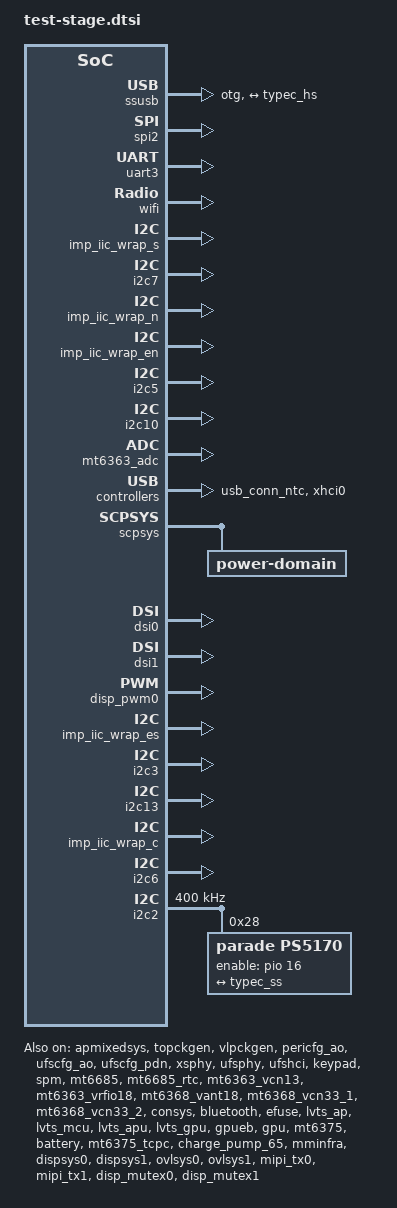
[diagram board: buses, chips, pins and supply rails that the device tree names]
// SPDX-FileCopyrightText: 2026 buntOS contributors
// SPDX-License-Identifier: (GPL-2.0-only OR BSD-2-Clause)
// 시험용: 2b부터 하나씩 켜는 노드. 기기에서 확인한 뒤 보드 dts로 옮긴다.

// LK가 켜 둔 화면은 mmpll에서 나오는 클럭으로 돈다. 커널에는 화면 드라이버가 없어 이 사용자를 모르므로,
// 같은 PLL을 쓰는 UFS가 클럭을 내리면 사용자가 0이 되어 PLL을 끈다. simpledrm이 잡아 둔다.
&framebuffer0 {
	clocks = <&apmixedsys CLK_APMIXED_MMPLL>;
};

// 6.1 핀, 6.2 클럭
&pio {
	status = "okay";
};

&apmixedsys {
	status = "okay";
};

&topckgen {
	status = "okay";
};

&vlpckgen {
	status = "okay";
};

&pericfg_ao {
	status = "okay";
};

&ufscfg_ao {
	status = "okay";
};

&ufscfg_pdn {
	status = "okay";
};

// 6.3 SPMI, 6.4 MT6363·MT6319, 6.5 MT6368. M 버스의 PMIC만 켠다. MT6685(@9)와 P 버스는 보드 dts대로 꺼져 있다.
&spmi {
	status = "okay";
};

// 6.7 USB 가젯. xhci0은 보드 dts대로 꺼 둔다.
&ssusb {
	status = "okay";
};

&xsphy {
	status = "okay";
};

// 6.6 UFS. 안드로이드 파티션과 nvdata가 있으니 읽기만 한다.
&ufsphy {
	status = "okay";
};

&ufshci {
	status = "okay";
};

// 7. 2c 입력. 터치와 펜(spi2), 홀 센서(gpio-keys), 포고 키보드(uart3). vddio_1v8은 패널과 터치의 I/O 전원이다.
&vddio_1v8 {
	status = "okay";
};

&spi2 {
	status = "okay";
};

&{/gpio-keys} {
	status = "okay";
};

&uart3 {
	status = "okay";
};

// 볼륨 내림 키
&keypad {
	status = "okay";
};

// 9.1, 9.2 2d. 드라이버는 명령줄의 modprobe.blacklist로 막고 손으로 올린다. 6.10 RTC도 MT6685와 함께 켠다.
&spm {
	status = "okay";
};

&mt6685 {
	status = "okay";
};

&mt6685_rtc {
	status = "okay";
};

&mt6363_vcn13 {
	status = "okay";
};

&mt6363_vrfio18 {
	status = "okay";
};

&mt6368_vant18 {
	status = "okay";
};

&mt6368_vcn33_1 {
	status = "okay";
};

&mt6368_vcn33_2 {
	status = "okay";
};

&consys {
	status = "okay";
};

&wifi {
	status = "okay";
};

&bluetooth {
	status = "okay";
};

// 9.4 2e 열과 게이지. efuse는 LK의 퓨즈 사본을 읽는다(lk-private.dtsi).
&efuse {
	status = "okay";
};

&lvts_ap {
	status = "okay";
};

&lvts_mcu {
	status = "okay";
};

&imp_iic_wrap_s {
	status = "okay";
};

&i2c7 {
	status = "okay";
};

// 9.4 2·3단계. GPU 전원은 요청하지 않는다.
&lvts_apu {
	status = "okay";
};

&lvts_gpu {
	status = "okay";
};

&gpueb_mbox {
	status = "okay";
};

&gpueb {
	status = "okay";
};

// 9.4 4단계. panthor는 명령줄의 modprobe.blacklist로 막고 손으로 올린다.
&gpu {
	status = "okay";
};

// 9.3 A 충전 읽기만. 모듈은 명령줄의 modprobe.blacklist로 막고 손으로 올린다.
&imp_iic_wrap_n {
	status = "okay";
};

&imp_iic_wrap_en {
	status = "okay";
};

&i2c5 {
	status = "okay";
};

&i2c10 {
	status = "okay";
};

&mt6375 {
	status = "okay";
};

// 9.3 B 충전 넘겨받기. 모듈은 명령줄의 modprobe.blacklist로 막고, 멈추는 스크립트를 건 뒤에 손으로 올린다.
&battery {
	status = "okay";
};

&mt6375 {
	charger {
		monitored-battery = <&battery>;
		mediatek,fuel-gauge = <&fuel_gauge>;
	};
};

// 9.3 C 인터럽트와 TCPC, 싱크만. tcpci_mt6375는 명령줄로 막고 시간 제한을 걸어 손으로 올린다.
&mt6375 {
	interrupt-parent = <&pio>;
	interrupts = <7 IRQ_TYPE_LEVEL_LOW>;

	charger {
		mediatek,usb-port = <&mt6375_tcpc>;
	};
};

&mt6375_tcpc {
	status = "okay";
};

// 8절 3단계, 9.3 C: TCPC의 VBUS 레귤레이터가 이 입력 FET 스위치를 입력으로 잡는다. 켜지 않는다.
&charge_pump_65 {
	status = "okay";
};

// 9.3 F USB 커넥터 과열 보호. 센서는 모듈이고 충전 드라이버가 10초마다 읽는다
&mt6363_adc {
	status = "okay";
};

&usb_conn_ntc {
	status = "okay";
};

&mt6375 {
	charger {
		mediatek,connector-thermal-zone = "usb-conn-thermal";
		mediatek,vbus-protect-gpios = <&pio 179 GPIO_ACTIVE_HIGH>;
	};
};

// 9.5 2c 2차 화면. 드라이버 넷은 명령줄의 modprobe.blacklist로 막고 손으로 올린다(체크리스트 9.5의 1~4단계).
// 화면 도메인은 첫 소비자 전에 simple-framebuffer가 잡는다. 패널 노드를 켜므로 fw_devlink가 simpledrm을 붙들지 않게 panel을 꺼진 노드로 돌린다.
/ {
	// simpledrm은 화면의 실제 크기(mm)를 panel이 가리키는 노드에서 읽는다. 꺼진 노드에는 fw_devlink가 걸리지 않으므로 크기만 적어 둔다
	panel_size: tb375fc-panel-size {
		status = "disabled";
		width-mm = <273>;
		height-mm = <171>;
	};
};

&framebuffer0 {
	panel = <&panel_size>;
	power-domains = <&scpsys MT6897_POWER_DOMAIN_DIS0_SHUTDOWN>,
			<&scpsys MT6897_POWER_DOMAIN_DIS1_SHUTDOWN>,
			<&scpsys MT6897_POWER_DOMAIN_OVL0_SHUTDOWN>,
			<&scpsys MT6897_POWER_DOMAIN_OVL1_SHUTDOWN>;
};

&scpsys {
	power-domain@MT6897_POWER_DOMAIN_MM_INFRA {
		reg = <MT6897_POWER_DOMAIN_MM_INFRA>;
		clocks = <&topckgen CLK_TOP_MMINFRA>;
		clock-names = "mm_infra";
		#address-cells = <1>;
		#size-cells = <0>;
		#power-domain-cells = <1>;

		power-domain@MT6897_POWER_DOMAIN_DIS0_SHUTDOWN {
			reg = <MT6897_POWER_DOMAIN_DIS0_SHUTDOWN>;
			clocks = <&topckgen CLK_TOP_DISP0>;
			clock-names = "disp";
			#address-cells = <1>;
			#size-cells = <0>;
			#power-domain-cells = <1>;

			power-domain@MT6897_POWER_DOMAIN_OVL0_SHUTDOWN {
				reg = <MT6897_POWER_DOMAIN_OVL0_SHUTDOWN>;
				clocks = <&topckgen CLK_TOP_OVL0>;
				clock-names = "ovl";
				#power-domain-cells = <0>;
			};
		};

		// 비디오 디코더(docs/tb375fc/video-decode.md 1단계). 소비자는 larb4뿐이고, 부팅 때는 꺼진 채로 둔다
		power-domain@MT6897_POWER_DOMAIN_VDE0 {
			reg = <MT6897_POWER_DOMAIN_VDE0>;
			clocks = <&topckgen CLK_TOP_VDEC>;
			clock-names = "vde";
			#address-cells = <1>;
			#size-cells = <0>;
			#power-domain-cells = <1>;

			power-domain@MT6897_POWER_DOMAIN_VDE1 {
				reg = <MT6897_POWER_DOMAIN_VDE1>;
				clocks = <&topckgen CLK_TOP_VDEC>;
				clock-names = "vde1";
				#power-domain-cells = <0>;
			};
		};

		// VCP의 도메인(2단계). LK가 켜 둔 채 넘기지만 꺼진 도메인으로 등록하고, 소비자(vcp 노드)는 꺼 둔 채 부팅한다
		power-domain@MT6897_POWER_DOMAIN_MM_PROC_DORMANT {
			reg = <MT6897_POWER_DOMAIN_MM_PROC_DORMANT>;
			clocks = <&topckgen CLK_TOP_MMUP>;
			clock-names = "mmup";
			#power-domain-cells = <0>;
		};

		power-domain@MT6897_POWER_DOMAIN_DIS1_SHUTDOWN {
			reg = <MT6897_POWER_DOMAIN_DIS1_SHUTDOWN>;
			clocks = <&topckgen CLK_TOP_DISP1>;
			clock-names = "disp1";
			#address-cells = <1>;
			#size-cells = <0>;
			#power-domain-cells = <1>;

			power-domain@MT6897_POWER_DOMAIN_OVL1_SHUTDOWN {
				reg = <MT6897_POWER_DOMAIN_OVL1_SHUTDOWN>;
				clocks = <&topckgen CLK_TOP_OVL1>;
				clock-names = "ovl1";
				#power-domain-cells = <0>;
			};
		};
	};
};

&mminfra {
	status = "okay";
};

&dispsys0 {
	status = "okay";
};

&dispsys1 {
	status = "okay";
};

&ovlsys0 {
	status = "okay";
};

&ovlsys1 {
	status = "okay";
};

&mipi_tx0 {
	status = "okay";
};

&mipi_tx1 {
	status = "okay";
};

&disp_mutex0 {
	status = "okay";
};

&disp_mutex1 {
	status = "okay";
};

&ovl_mutex0 {
	status = "okay";
};

&ovl_mutex1 {
	status = "okay";
};

&dsc0 {
	status = "okay";
};

&dsc1 {
	status = "okay";
};

&ovl_2l0 {
	status = "okay";
};

&ovl_2l1 {
	status = "okay";
};

&dsi0 {
	status = "okay";
};

&dsi1 {
	status = "okay";
};

&panel0 {
	status = "okay";
};

&lcd_avdd {
	status = "okay";
};

&lcd_avee {
	status = "okay";
};

// 9.5 밝기. SoC의 disp_pwm0이 SGM37604A 둘을 함께 움직인다. i2c3과 i2c13은 두 칩과 SM5109의 레지스터를 읽으려고 켠다(드라이버는 붙지 않는다).
/ {
	aliases {
		i2c3 = &i2c3;
		i2c13 = &i2c13;
	};
};

&disp_pwm0 {
	status = "okay";
};

&backlight {
	status = "okay";
};

&imp_iic_wrap_es {
	status = "okay";
};

&i2c3 {
	status = "okay";
};

&i2c13 {
	status = "okay";
};

// 소리. 드라이버는 명령줄의 modprobe.blacklist로 막고 buntos-sound.service가 올린다.
&sound {
	status = "okay";
};

&afe {
	status = "okay";
};

&mt6368_codec {
	status = "okay";
};

&mt6368_vaud18 {
	status = "okay";
};

&imp_iic_wrap_c {
	status = "okay";
};

&i2c6 {
	status = "okay";
};

// 비디오 디코더 1단계: MDP 쪽 IOMMU와 SMI, 디코더 코어의 larb(docs/tb375fc/video-decode.md 7.1절).
// 클럭 게이트는 레지스터를 건드리지 않고 등록만 한다.
&vdecsys {
	status = "okay";
};

// 3단계: 디코더 앞단(larb5)의 게이트. vdecsys와 같이 등록만 한다.
&vdecsys_soc {
	status = "okay";
};

// 비디오 디코더(docs/tb375fc/video-decode.md 7.4절): 두 IOMMU와 SMI, larb4·larb5, VCP, 전압 요청 블록(DVFSRC), 디코더.
// 노드는 부팅 때부터 켜 두고, 드라이버(mtk_smi, mtk_iommu, mtk_dvfsrc, mt6897_vcp, mt6897_vdec)는 모두 모듈로 두어
// 명령줄의 modprobe.blacklist로 막고 buntos-video.service가 로그인 화면 뒤에 차례대로 올린다. SMI와 IOMMU가
// 붙으면 larb가 VDE0·VDE1을 켰다 끄고 IOMMU가 초기화되는데, 화면이 부트로더가 차려 둔 그대로 나가는 동안이면
// 컴포지터가 화면을 다시 설정할 때까지 화면이 깨진다. 화면 드라이버가 초기화된 것만으로는 모자라서, 서비스가
// DSI 커넥터가 켜진 것을 본 뒤에 올린다.
&smi_mdp_common {
	status = "okay";
};

&larb4 {
	status = "okay";
};

&mdp_iommu {
	status = "okay";
};

&vcp {
	status = "okay";
};

&smi_disp_common {
	status = "okay";
};

&larb5 {
	status = "okay";
};

&disp_iommu {
	status = "okay";
};

&dvfsrc {
	status = "okay";
};

&vdec {
	status = "okay";
};

// 8절 USB 호스트와 DP Alt 준비(2026-11-25). 사용자 공간의 regulator-output 대신 TCPM이 이중 역할로 VBUS를 낸다:
// 상대가 Rd(싱크)를 보일 때만, VBUS가 0V인 것을 본 뒤에 OTG 부스트를 켠다. 충전기·PC(Rp)를 만나면 싱크로 남는다.
// 소스 PDO는 5V 0.9A로 둔다(기본 USB Rp). 순정의 DP Alt 핀 배치는 C·D·E다.
&mt6375_tcpc {
	connector {
		power-role = "dual";
		data-role = "dual";
		try-power-role = "sink";
		source-pdos = <PDO_FIXED(5000, 900, PDO_FIXED_USB_COMM | PDO_FIXED_DUAL_ROLE | PDO_FIXED_DATA_SWAP)>;
		sink-pdos = <PDO_FIXED(5000, 3000, PDO_FIXED_USB_COMM | PDO_FIXED_DUAL_ROLE | PDO_FIXED_DATA_SWAP)
			     PDO_FIXED(9000, 2000, 0)>;

		altmodes {
			displayport {
				svid = /bits/ 16 <0xff01>;
				/* DFP_D, DP 1.3 신호, 리셉터클, 핀 배치 C·D·E */
				vdo = <0x00001c46>;
			};
		};

		ports {
			#address-cells = <1>;
			#size-cells = <0>;

			port@0 {
				reg = <0>;
				typec_hs: endpoint {
					remote-endpoint = <&usb_role_sw>;
				};
			};

			port@1 {
				reg = <1>;
				typec_ss: endpoint {
					remote-endpoint = <&ps5170_in>;
				};
			};
		};
	};
};

&ssusb {
	dr_mode = "otg";
	usb-role-switch;
	role-switch-default-mode = "peripheral";

	port {
		usb_role_sw: endpoint {
			remote-endpoint = <&typec_hs>;
		};
	};
};

&xhci0 {
	status = "okay";
};

// PS5170 리드라이버(패치 0240). GPIO16이 칩을 켠다(순정 핀 상태 enable/disable)
&i2c2 {
	clock-frequency = <400000>;
	status = "okay";

	ps5170@28 {
		compatible = "parade,ps5170";
		reg = <0x28>;
		enable-gpios = <&pio 16 GPIO_ACTIVE_HIGH>;
		orientation-switch;
		mode-switch;

		port {
			ps5170_in: endpoint {
				remote-endpoint = <&typec_ss>;
			};
		};
	};
};
